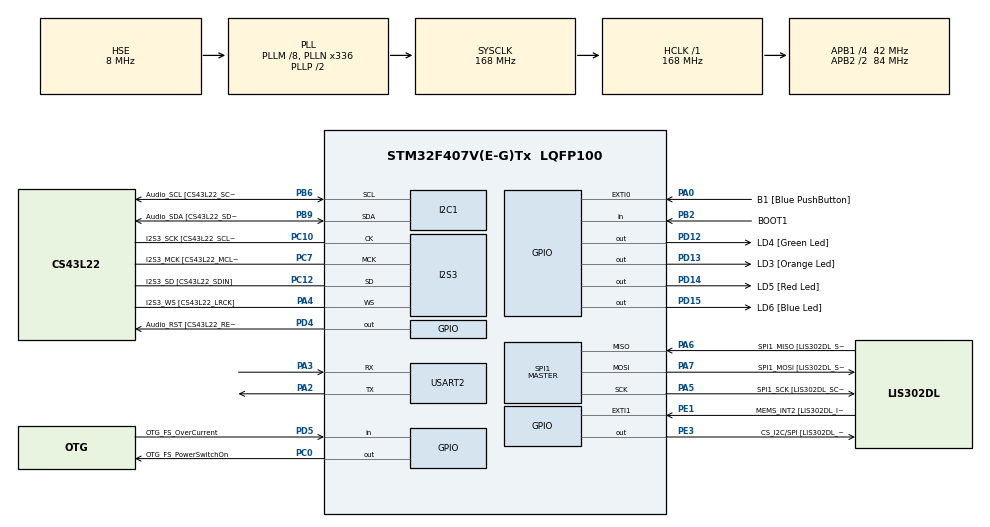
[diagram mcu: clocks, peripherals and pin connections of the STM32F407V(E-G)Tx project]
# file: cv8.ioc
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ADC1.Channel-0\#ChannelRegularConversion=ADC_CHANNEL_VREFINT
ADC1.NbrOfConversionFlag=1
ADC1.Rank-0\#ChannelRegularConversion=1
ADC1.SamplingTime-0\#ChannelRegularConversion=ADC_SAMPLETIME_480CYCLES
ADC1.master=1
Dma.Request0=USART2_RX
Dma.USART2_RX.0.Direction=DMA_PERIPH_TO_MEMORY
Dma.USART2_RX.0.FIFOMode=DMA_FIFOMODE_DISABLE
Dma.USART2_RX.0.Instance=DMA1_Stream5
Dma.USART2_RX.0.MemDataAlignment=DMA_MDATAALIGN_BYTE
Dma.USART2_RX.0.MemInc=DMA_MINC_ENABLE
Dma.USART2_RX.0.Mode=DMA_CIRCULAR
Dma.USART2_RX.0.PeriphDataAlignment=DMA_PDATAALIGN_BYTE
Dma.USART2_RX.0.PeriphInc=DMA_PINC_DISABLE
Dma.USART2_RX.0.Priority=DMA_PRIORITY_HIGH
I2S3.AudioFreq-Half_Duplex_Master=I2S_AUDIOFREQ_96K
I2S3.ErrorAudioFreq=-2.34 %
I2S3.ErrorAudioFreq-Half_Duplex_Master=0.8 %
I2S3.RealAudioFreq=93.75 KHz
I2S3.RealAudioFreq-Half_Duplex_Master=96.774 KHz
Mcu.Family=STM32F4
Mcu.Name=STM32F407V(E-G)Tx
Mcu.Package=LQFP100
NVIC.DMA1_Stream5_IRQn=true\:0\:0\:false\:false\:true
NVIC.PriorityGroup=NVIC_PRIORITYGROUP_0
PA0-WKUP.GPIO_Label=B1 [Blue PushButton]
PA0-WKUP.GPIO_ModeDefaultEXTI=GPIO_MODE_EVT_RISING
PA0-WKUP.GPIO_PuPd=GPIO_NOPULL
PA0-WKUP.Signal=GPXTI0
PA10.GPIO_Label=OTG_FS_ID
PA10.GPIO_Mode=GPIO_MODE_AF_PP
PA10.GPIO_PuPd=GPIO_NOPULL
PA10.GPIO_Speed=GPIO_SPEED_FREQ_LOW
PA10.Signal=USB_OTG_FS_ID
PA11.GPIO_Label=OTG_FS_DM
PA11.GPIO_Mode=GPIO_MODE_AF_PP
PA11.GPIO_PuPd=GPIO_NOPULL
PA11.GPIO_Speed=GPIO_SPEED_FREQ_LOW
PA11.Signal=USB_OTG_FS_DM
PA12.GPIO_Label=OTG_FS_DP
PA12.GPIO_Mode=GPIO_MODE_AF_PP
PA12.GPIO_PuPd=GPIO_NOPULL
PA12.GPIO_Speed=GPIO_SPEED_FREQ_LOW
PA12.Signal=USB_OTG_FS_DP
PA13.GPIO_Label=SWDIO
PA13.Mode=Serial_Wire
PA13.Signal=SYS_JTMS-SWDIO
PA14.GPIO_Label=SWCLK
PA14.Mode=Serial_Wire
PA14.Signal=SYS_JTCK-SWCLK
PA2.Mode=Asynchronous
PA2.Signal=USART2_TX
PA3.Mode=Asynchronous
PA3.Signal=USART2_RX
PA4.GPIO_Label=I2S3_WS [CS43L22_LRCK]
PA4.GPIO_Mode=GPIO_MODE_AF_PP
PA4.GPIO_PuPd=GPIO_NOPULL
PA4.GPIO_Speed=GPIO_SPEED_FREQ_LOW
PA4.Mode=Half_Duplex_Master
PA4.Signal=I2S3_WS
PA5.GPIO_Label=SPI1_SCK [LIS302DL_SCL/SPC]
PA5.GPIO_Mode=GPIO_MODE_AF_PP
PA5.GPIO_PuPd=GPIO_NOPULL
PA5.GPIO_Speed=GPIO_SPEED_FREQ_LOW
PA5.Mode=Full_Duplex_Master
PA5.Signal=SPI1_SCK
PA6.GPIO_Label=SPI1_MISO [LIS302DL_SDO]
PA6.GPIO_Mode=GPIO_MODE_AF_PP
PA6.GPIO_PuPd=GPIO_NOPULL
PA6.GPIO_Speed=GPIO_SPEED_FREQ_LOW
PA6.Mode=Full_Duplex_Master
PA6.Signal=SPI1_MISO
PA7.GPIO_Label=SPI1_MOSI [LIS302DL_SDA/SDI/SDO]
PA7.GPIO_Mode=GPIO_MODE_AF_PP
PA7.GPIO_PuPd=GPIO_NOPULL
PA7.GPIO_Speed=GPIO_SPEED_FREQ_LOW
PA7.Mode=Full_Duplex_Master
PA7.Signal=SPI1_MOSI
PA9.GPIO_Label=VBUS_FS
PA9.GPIO_Mode=GPIO_MODE_INPUT
PA9.GPIO_PuPd=GPIO_NOPULL
PA9.Signal=USB_OTG_FS_VBUS
PB10.GPIO_Label=CLK_IN [MP45DT02_CLK]
PB10.GPIO_Mode=GPIO_MODE_AF_PP
PB10.GPIO_PuPd=GPIO_NOPULL
PB10.GPIO_Speed=GPIO_SPEED_FREQ_LOW
PB10.Signal=I2S2_CK
PB2.GPIO_Label=BOOT1
PB2.GPIO_Mode=GPIO_MODE_INPUT
PB2.GPIO_PuPd=GPIO_NOPULL
PB2.Signal=GPIO_Input
PB3.GPIO_Label=SWO
PB3.Signal=SYS_JTDO-SWO
PB6.GPIO_Label=Audio_SCL [CS43L22_SCL]
PB6.GPIO_Mode=GPIO_MODE_AF_OD
PB6.GPIO_PuPd=GPIO_NOPULL
PB6.GPIO_Speed=GPIO_SPEED_FREQ_LOW
PB6.Mode=I2C
PB6.Signal=I2C1_SCL
PB9.GPIO_Label=Audio_SDA [CS43L22_SDA]
PB9.GPIO_Mode=GPIO_MODE_AF_OD
PB9.GPIO_PuPd=GPIO_NOPULL
PB9.GPIO_Speed=GPIO_SPEED_FREQ_LOW
PB9.Mode=I2C
PB9.Signal=I2C1_SDA
PC0.GPIO_Label=OTG_FS_PowerSwitchOn
PC0.GPIO_PuPd=GPIO_NOPULL
PC0.GPIO_Speed=GPIO_SPEED_FREQ_LOW
PC0.PinState=GPIO_PIN_SET
PC0.Signal=GPIO_Output
PC10.GPIO_Label=I2S3_SCK [CS43L22_SCLK]
PC10.GPIO_Mode=GPIO_MODE_AF_PP
PC10.GPIO_PuPd=GPIO_NOPULL
PC10.GPIO_Speed=GPIO_SPEED_FREQ_LOW
PC10.Mode=Half_Duplex_Master
PC10.Signal=I2S3_CK
PC12.GPIO_Label=I2S3_SD [CS43L22_SDIN]
PC12.GPIO_Mode=GPIO_MODE_AF_PP
PC12.GPIO_PuPd=GPIO_NOPULL
PC12.GPIO_Speed=GPIO_SPEED_FREQ_LOW
PC12.Mode=Half_Duplex_Master
PC12.Signal=I2S3_SD
PC14-OSC32_IN.GPIO_Label=PC14-OSC32_IN
PC14-OSC32_IN.Mode=LSE-External-Oscillator
PC14-OSC32_IN.Signal=RCC_OSC32_IN
PC15-OSC32_OUT.GPIO_Label=PC15-OSC32_OUT
PC15-OSC32_OUT.Mode=LSE-External-Oscillator
PC15-OSC32_OUT.Signal=RCC_OSC32_OUT
PC3.GPIO_Label=PDM_OUT [MP45DT02_DOUT]
PC3.GPIO_Mode=GPIO_MODE_AF_PP
PC3.GPIO_PuPd=GPIO_NOPULL
PC3.GPIO_Speed=GPIO_SPEED_FREQ_LOW
PC3.Signal=I2S2_SD
PC7.GPIO_Label=I2S3_MCK [CS43L22_MCLK]
PC7.GPIO_Mode=GPIO_MODE_AF_PP
PC7.GPIO_PuPd=GPIO_NOPULL
PC7.GPIO_Speed=GPIO_SPEED_FREQ_LOW
PC7.Mode=Master_Clock_Activated
PC7.Signal=I2S3_MCK
PD12.GPIO_Label=LD4 [Green Led]
PD12.GPIO_PuPd=GPIO_NOPULL
PD12.GPIO_Speed=GPIO_SPEED_FREQ_LOW
PD12.Signal=GPIO_Output
PD13.GPIO_Label=LD3 [Orange Led]
PD13.GPIO_PuPd=GPIO_NOPULL
PD13.GPIO_Speed=GPIO_SPEED_FREQ_LOW
PD13.Signal=GPIO_Output
PD14.GPIO_Label=LD5 [Red Led]
PD14.GPIO_PuPd=GPIO_NOPULL
PD14.GPIO_Speed=GPIO_SPEED_FREQ_LOW
PD14.Signal=GPIO_Output
PD15.GPIO_Label=LD6 [Blue Led]
PD15.GPIO_PuPd=GPIO_NOPULL
PD15.GPIO_Speed=GPIO_SPEED_FREQ_LOW
PD15.Signal=GPIO_Output
PD4.GPIO_Label=Audio_RST [CS43L22_RESET]
PD4.GPIO_PuPd=GPIO_NOPULL
PD4.GPIO_Speed=GPIO_SPEED_FREQ_LOW
PD4.Signal=GPIO_Output
PD5.GPIO_Label=OTG_FS_OverCurrent
PD5.GPIO_Mode=GPIO_MODE_INPUT
PD5.GPIO_PuPd=GPIO_NOPULL
PD5.Signal=GPIO_Input
PE1.GPIO_Label=MEMS_INT2 [LIS302DL_INT2]
PE1.GPIO_ModeDefaultEXTI=GPIO_MODE_EVT_RISING
PE1.GPIO_PuPd=GPIO_NOPULL
PE1.Signal=GPXTI1
PE3.GPIO_Label=CS_I2C/SPI [LIS302DL_CS_I2C/SPI]
PE3.GPIO_PuPd=GPIO_NOPULL
PE3.GPIO_Speed=GPIO_SPEED_FREQ_LOW
PE3.Signal=GPIO_Output
PH0-OSC_IN.GPIO_Label=PH0-OSC_IN
PH0-OSC_IN.Mode=HSE-External-Oscillator
PH0-OSC_IN.Signal=RCC_OSC_IN
PH1-OSC_OUT.GPIO_Label=PH1-OSC_OUT
PH1-OSC_OUT.Mode=HSE-External-Oscillator
PH1-OSC_OUT.Signal=RCC_OSC_OUT
ProjectManager.HeapSize=0x200
ProjectManager.StackSize=0x400
ProjectManager.TargetToolchain=SW4STM32
RCC.48MHZClocksFreq_Value=48000000
RCC.AHBFreq_Value=168000000
RCC.APB1CLKDivider=RCC_HCLK_DIV4
RCC.APB1Freq_Value=42000000
RCC.APB1TimFreq_Value=84000000
RCC.APB2CLKDivider=RCC_HCLK_DIV2
RCC.APB2Freq_Value=84000000
RCC.APB2TimFreq_Value=168000000
RCC.CortexFreq_Value=168000000
RCC.HCLKFreq_Value=168000000
RCC.HSE_VALUE=8000000
RCC.HSI_VALUE=16000000
RCC.PLLM=8
RCC.PLLN=336
RCC.PLLQ=7
RCC.PLLSourceVirtual=RCC_PLLSOURCE_HSE
RCC.SYSCLKFreq_VALUE=168000000
RCC.SYSCLKSource=RCC_SYSCLKSOURCE_PLLCLK
RCC.VCOOutputFreq_Value=336000000
SPI1.BaudRatePrescaler-Full_Duplex_Master=SPI_BAUDRATEPRESCALER_2
SPI1.CalculateBaudRate-Full_Duplex_Master=42.0 MBits/s
SPI1.Mode=SPI_MODE_MASTER
SPI1.Mode-Full_Duplex_Master=SPI_MODE_MASTER
VP_ADC1_Vref_Input.Mode=IN-Vrefint
board=STM32F4DISCOVERY

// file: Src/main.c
/**
  ******************************************************************************
  * File Name          : main.c
  * Description        : Main program body
  ******************************************************************************
  *
  * COPYRIGHT(c) 2018 STMicroelectronics
  *
  * Redistribution and use in source and binary forms, with or without modification,
  * are permitted provided that the following conditions are met:
  *   1. Redistributions of source code must retain the above copyright notice,
  *      this list of conditions and the following disclaimer.
  *   2. Redistributions in binary form must reproduce the above copyright notice,
  *      this list of conditions and the following disclaimer in the documentation
  *      and/or other materials provided with the distribution.
  *   3. Neither the name of STMicroelectronics nor the names of its contributors
  *      may be used to endorse or promote products derived from this software
  *      without specific prior written permission.
  *
  * THIS SOFTWARE IS PROVIDED BY THE COPYRIGHT HOLDERS AND CONTRIBUTORS "AS IS"
  * AND ANY EXPRESS OR IMPLIED WARRANTIES, INCLUDING, BUT NOT LIMITED TO, THE
  * IMPLIED WARRANTIES OF MERCHANTABILITY AND FITNESS FOR A PARTICULAR PURPOSE ARE
  * DISCLAIMED. IN NO EVENT SHALL THE COPYRIGHT HOLDER OR CONTRIBUTORS BE LIABLE
  * FOR ANY DIRECT, INDIRECT, INCIDENTAL, SPECIAL, EXEMPLARY, OR CONSEQUENTIAL
  * DAMAGES (INCLUDING, BUT NOT LIMITED TO, PROCUREMENT OF SUBSTITUTE GOODS OR
  * SERVICES; LOSS OF USE, DATA, OR PROFITS; OR BUSINESS INTERRUPTION) HOWEVER
  * CAUSED AND ON ANY THEORY OF LIABILITY, WHETHER IN CONTRACT, STRICT LIABILITY,
  * OR TORT (INCLUDING NEGLIGENCE OR OTHERWISE) ARISING IN ANY WAY OUT OF THE USE
  * OF THIS SOFTWARE, EVEN IF ADVISED OF THE POSSIBILITY OF SUCH DAMAGE.
  *
  ******************************************************************************
  */
#include "main.h"
#include "stm32f4xx_hal.h"

/* USER CODE BEGIN Includes */
#define RX_BUFFER_LEN 64
#define CMD_BUFFER_LEN 64
#define uart_rx_write_ptr (RX_BUFFER_LEN - hdma_usart2_rx.Instance->NDTR)
#include <string.h>
/* USER CODE END Includes */

ADC_HandleTypeDef hadc1;

I2C_HandleTypeDef hi2c1;

I2S_HandleTypeDef hi2s3;

SPI_HandleTypeDef hspi1;

UART_HandleTypeDef huart2;
DMA_HandleTypeDef hdma_usart2_rx;

/* USER CODE BEGIN PV */
/* Private variables ---------------------------------------------------------*/
static uint8_t uart_rx_buf[RX_BUFFER_LEN];
static uint16_t uart_rx_read_ptr = 0;
int32_t timeout;
/* USER CODE END PV */

void SystemClock_Config(void);
void Error_Handler(void);
static void MX_GPIO_Init(void);
static void MX_DMA_Init(void);
static void MX_I2C1_Init(void);
static void MX_I2S3_Init(void);
static void MX_SPI1_Init(void);
static void MX_USART2_UART_Init(void);
static void MX_ADC1_Init(void);

/* USER CODE BEGIN PFP */
/* Private function prototypes -----------------------------------------------*/

/* USER CODE END PFP */

int main(void)
{

  /* MCU Configuration----------------------------------------------------------*/

  /* Reset of all peripherals, Initializes the Flash interface and the Systick. */
  HAL_Init();

  /* Configure the system clock */
  SystemClock_Config();

  /* Initialize all configured peripherals */
  MX_GPIO_Init();
  MX_DMA_Init();
  MX_I2C1_Init();
  MX_I2S3_Init();
  MX_SPI1_Init();
  MX_USART2_UART_Init();
  MX_ADC1_Init();

  /* USER CODE BEGIN 2 */
  HAL_UART_Receive_DMA(&huart2, (uint8_t*)uart_rx_buf, RX_BUFFER_LEN);
  /* USER CODE END 2 */

  /* Infinite loop */
  /* USER CODE BEGIN WHILE */
  while (1)
  {
    //char c;
    //HAL_UART_Receive(&huart2, &c, 1, HAL_MAX_DELAY);
    //HAL_UART_Transmit(&huart2, &c, 1, HAL_MAX_DELAY);
    // vyprazdneni bufferu

    while (uart_rx_read_ptr != uart_rx_write_ptr) {
        __ISB();
        uint8_t b = uart_rx_buf[uart_rx_read_ptr];
        if (++uart_rx_read_ptr >= RX_BUFFER_LEN)
            uart_rx_read_ptr = 0; // increase read pointer

        uart_byte_available(b); // process every received byte with the RX state machine
        timeout = HAL_GetTick();

    }
  /* USER CODE END WHILE */

  }

}

/** System Clock Configuration
*/
void SystemClock_Config(void)
{

  RCC_OscInitTypeDef RCC_OscInitStruct;
  RCC_ClkInitTypeDef RCC_ClkInitStruct;
  RCC_PeriphCLKInitTypeDef PeriphClkInitStruct;

    /**Configure the main internal regulator output voltage
    */
  __HAL_RCC_PWR_CLK_ENABLE();

  __HAL_PWR_VOLTAGESCALING_CONFIG(PWR_REGULATOR_VOLTAGE_SCALE1);

    /**Initializes the CPU, AHB and APB busses clocks
    */
  RCC_OscInitStruct.OscillatorType = RCC_OSCILLATORTYPE_HSE;
  RCC_OscInitStruct.HSEState = RCC_HSE_ON;
  RCC_OscInitStruct.PLL.PLLState = RCC_PLL_ON;
  RCC_OscInitStruct.PLL.PLLSource = RCC_PLLSOURCE_HSE;
  RCC_OscInitStruct.PLL.PLLM = 8;
  RCC_OscInitStruct.PLL.PLLN = 336;
  RCC_OscInitStruct.PLL.PLLP = RCC_PLLP_DIV2;
  RCC_OscInitStruct.PLL.PLLQ = 7;
  if (HAL_RCC_OscConfig(&RCC_OscInitStruct) != HAL_OK)
  {
    Error_Handler();
  }

    /**Initializes the CPU, AHB and APB busses clocks
    */
  RCC_ClkInitStruct.ClockType = RCC_CLOCKTYPE_HCLK|RCC_CLOCKTYPE_SYSCLK
                              |RCC_CLOCKTYPE_PCLK1|RCC_CLOCKTYPE_PCLK2;
  RCC_ClkInitStruct.SYSCLKSource = RCC_SYSCLKSOURCE_PLLCLK;
  RCC_ClkInitStruct.AHBCLKDivider = RCC_SYSCLK_DIV1;
  RCC_ClkInitStruct.APB1CLKDivider = RCC_HCLK_DIV4;
  RCC_ClkInitStruct.APB2CLKDivider = RCC_HCLK_DIV2;

  if (HAL_RCC_ClockConfig(&RCC_ClkInitStruct, FLASH_LATENCY_5) != HAL_OK)
  {
    Error_Handler();
  }

  PeriphClkInitStruct.PeriphClockSelection = RCC_PERIPHCLK_I2S;
  PeriphClkInitStruct.PLLI2S.PLLI2SN = 192;
  PeriphClkInitStruct.PLLI2S.PLLI2SR = 2;
  if (HAL_RCCEx_PeriphCLKConfig(&PeriphClkInitStruct) != HAL_OK)
  {
    Error_Handler();
  }

    /**Configure the Systick interrupt time
    */
  HAL_SYSTICK_Config(HAL_RCC_GetHCLKFreq()/1000);

    /**Configure the Systick
    */
  HAL_SYSTICK_CLKSourceConfig(SYSTICK_CLKSOURCE_HCLK);

  /* SysTick_IRQn interrupt configuration */
  HAL_NVIC_SetPriority(SysTick_IRQn, 0, 0);
}

/* ADC1 init function */
static void MX_ADC1_Init(void)
{

  ADC_ChannelConfTypeDef sConfig;

    /**Configure the global features of the ADC (Clock, Resolution, Data Alignment and number of conversion)
    */
  hadc1.Instance = ADC1;
  hadc1.Init.ClockPrescaler = ADC_CLOCK_SYNC_PCLK_DIV4;
  hadc1.Init.Resolution = ADC_RESOLUTION_12B;
  hadc1.Init.ScanConvMode = DISABLE;
  hadc1.Init.ContinuousConvMode = DISABLE;
  hadc1.Init.DiscontinuousConvMode = DISABLE;
  hadc1.Init.ExternalTrigConvEdge = ADC_EXTERNALTRIGCONVEDGE_NONE;
  hadc1.Init.DataAlign = ADC_DATAALIGN_RIGHT;
  hadc1.Init.NbrOfConversion = 1;
  hadc1.Init.DMAContinuousRequests = DISABLE;
  hadc1.Init.EOCSelection = ADC_EOC_SINGLE_CONV;
  if (HAL_ADC_Init(&hadc1) != HAL_OK)
  {
    Error_Handler();
  }

    /**Configure for the selected ADC regular channel its corresponding rank in the sequencer and its sample time.
    */
  sConfig.Channel = ADC_CHANNEL_VREFINT;
  sConfig.Rank = 1;
  sConfig.SamplingTime = ADC_SAMPLETIME_480CYCLES;
  if (HAL_ADC_ConfigChannel(&hadc1, &sConfig) != HAL_OK)
  {
    Error_Handler();
  }

}

/* I2C1 init function */
static void MX_I2C1_Init(void)
{

  hi2c1.Instance = I2C1;
  hi2c1.Init.ClockSpeed = 100000;
  hi2c1.Init.DutyCycle = I2C_DUTYCYCLE_2;
  hi2c1.Init.OwnAddress1 = 0;
  hi2c1.Init.AddressingMode = I2C_ADDRESSINGMODE_7BIT;
  hi2c1.Init.DualAddressMode = I2C_DUALADDRESS_DISABLE;
  hi2c1.Init.OwnAddress2 = 0;
  hi2c1.Init.GeneralCallMode = I2C_GENERALCALL_DISABLE;
  hi2c1.Init.NoStretchMode = I2C_NOSTRETCH_DISABLE;
  if (HAL_I2C_Init(&hi2c1) != HAL_OK)
  {
    Error_Handler();
  }

}

/* I2S3 init function */
static void MX_I2S3_Init(void)
{

  hi2s3.Instance = SPI3;
  hi2s3.Init.Mode = I2S_MODE_MASTER_TX;
  hi2s3.Init.Standard = I2S_STANDARD_PHILIPS;
  hi2s3.Init.DataFormat = I2S_DATAFORMAT_16B;
  hi2s3.Init.MCLKOutput = I2S_MCLKOUTPUT_ENABLE;
  hi2s3.Init.AudioFreq = I2S_AUDIOFREQ_96K;
  hi2s3.Init.CPOL = I2S_CPOL_LOW;
  hi2s3.Init.ClockSource = I2S_CLOCK_PLL;
  hi2s3.Init.FullDuplexMode = I2S_FULLDUPLEXMODE_DISABLE;
  if (HAL_I2S_Init(&hi2s3) != HAL_OK)
  {
    Error_Handler();
  }

}

/* SPI1 init function */
static void MX_SPI1_Init(void)
{

  hspi1.Instance = SPI1;
  hspi1.Init.Mode = SPI_MODE_MASTER;
  hspi1.Init.Direction = SPI_DIRECTION_2LINES;
  hspi1.Init.DataSize = SPI_DATASIZE_8BIT;
  hspi1.Init.CLKPolarity = SPI_POLARITY_LOW;
  hspi1.Init.CLKPhase = SPI_PHASE_1EDGE;
  hspi1.Init.NSS = SPI_NSS_SOFT;
  hspi1.Init.BaudRatePrescaler = SPI_BAUDRATEPRESCALER_2;
  hspi1.Init.FirstBit = SPI_FIRSTBIT_MSB;
  hspi1.Init.TIMode = SPI_TIMODE_DISABLE;
  hspi1.Init.CRCCalculation = SPI_CRCCALCULATION_DISABLE;
  hspi1.Init.CRCPolynomial = 10;
  if (HAL_SPI_Init(&hspi1) != HAL_OK)
  {
    Error_Handler();
  }

}

/* USART2 init function */
static void MX_USART2_UART_Init(void)
{

  huart2.Instance = USART2;
  huart2.Init.BaudRate = 115200;
  huart2.Init.WordLength = UART_WORDLENGTH_8B;
  huart2.Init.StopBits = UART_STOPBITS_1;
  huart2.Init.Parity = UART_PARITY_NONE;
  huart2.Init.Mode = UART_MODE_TX_RX;
  huart2.Init.HwFlowCtl = UART_HWCONTROL_NONE;
  huart2.Init.OverSampling = UART_OVERSAMPLING_16;
  if (HAL_UART_Init(&huart2) != HAL_OK)
  {
    Error_Handler();
  }

}

static void MX_DMA_Init(void)
{
  /* DMA controller clock enable */
  __HAL_RCC_DMA1_CLK_ENABLE();

  /* DMA interrupt init */
  /* DMA1_Stream5_IRQn interrupt configuration */
  HAL_NVIC_SetPriority(DMA1_Stream5_IRQn, 0, 0);
  HAL_NVIC_EnableIRQ(DMA1_Stream5_IRQn);

}

/** Configure pins as
        * Analog
        * Input
        * Output
        * EVENT_OUT
        * EXTI
        * Free pins are configured automatically as Analog (this feature is enabled through
        * the Code Generation settings)
     PC3   ------> I2S2_SD
     PB10   ------> I2S2_CK
     PA9   ------> USB_OTG_FS_VBUS
     PA10   ------> USB_OTG_FS_ID
     PA11   ------> USB_OTG_FS_DM
     PA12   ------> USB_OTG_FS_DP
*/
static void MX_GPIO_Init(void)
{

  GPIO_InitTypeDef GPIO_InitStruct;

  /* GPIO Ports Clock Enable */
  __HAL_RCC_GPIOE_CLK_ENABLE();
  __HAL_RCC_GPIOC_CLK_ENABLE();
  __HAL_RCC_GPIOH_CLK_ENABLE();
  __HAL_RCC_GPIOA_CLK_ENABLE();
  __HAL_RCC_GPIOB_CLK_ENABLE();
  __HAL_RCC_GPIOD_CLK_ENABLE();

  /*Configure GPIO pins : PE2 PE4 PE5 PE6
                           PE7 PE8 PE9 PE10
                           PE11 PE12 PE13 PE14
                           PE15 PE0 */
  GPIO_InitStruct.Pin = GPIO_PIN_2|GPIO_PIN_4|GPIO_PIN_5|GPIO_PIN_6
                          |GPIO_PIN_7|GPIO_PIN_8|GPIO_PIN_9|GPIO_PIN_10
                          |GPIO_PIN_11|GPIO_PIN_12|GPIO_PIN_13|GPIO_PIN_14
                          |GPIO_PIN_15|GPIO_PIN_0;
  GPIO_InitStruct.Mode = GPIO_MODE_ANALOG;
  GPIO_InitStruct.Pull = GPIO_NOPULL;
  HAL_GPIO_Init(GPIOE, &GPIO_InitStruct);

  /*Configure GPIO pin : CS_I2C_SPI_Pin */
  GPIO_InitStruct.Pin = CS_I2C_SPI_Pin;
  GPIO_InitStruct.Mode = GPIO_MODE_OUTPUT_PP;
  GPIO_InitStruct.Pull = GPIO_NOPULL;
  GPIO_InitStruct.Speed = GPIO_SPEED_FREQ_LOW;
  HAL_GPIO_Init(CS_I2C_SPI_GPIO_Port, &GPIO_InitStruct);

  /*Configure GPIO pins : PC13 PC1 PC2 PC4
                           PC5 PC6 PC8 PC9
                           PC11 */
  GPIO_InitStruct.Pin = GPIO_PIN_13|GPIO_PIN_1|GPIO_PIN_2|GPIO_PIN_4
                          |GPIO_PIN_5|GPIO_PIN_6|GPIO_PIN_8|GPIO_PIN_9
                          |GPIO_PIN_11;
  GPIO_InitStruct.Mode = GPIO_MODE_ANALOG;
  GPIO_InitStruct.Pull = GPIO_NOPULL;
  HAL_GPIO_Init(GPIOC, &GPIO_InitStruct);

  /*Configure GPIO pin : OTG_FS_PowerSwitchOn_Pin */
  GPIO_InitStruct.Pin = OTG_FS_PowerSwitchOn_Pin;
  GPIO_InitStruct.Mode = GPIO_MODE_OUTPUT_PP;
  GPIO_InitStruct.Pull = GPIO_NOPULL;
  GPIO_InitStruct.Speed = GPIO_SPEED_FREQ_LOW;
  HAL_GPIO_Init(OTG_FS_PowerSwitchOn_GPIO_Port, &GPIO_InitStruct);

  /*Configure GPIO pin : PDM_OUT_Pin */
  GPIO_InitStruct.Pin = PDM_OUT_Pin;
  GPIO_InitStruct.Mode = GPIO_MODE_AF_PP;
  GPIO_InitStruct.Pull = GPIO_NOPULL;
  GPIO_InitStruct.Speed = GPIO_SPEED_FREQ_LOW;
  GPIO_InitStruct.Alternate = GPIO_AF5_SPI2;
  HAL_GPIO_Init(PDM_OUT_GPIO_Port, &GPIO_InitStruct);

  /*Configure GPIO pin : B1_Pin */
  GPIO_InitStruct.Pin = B1_Pin;
  GPIO_InitStruct.Mode = GPIO_MODE_EVT_RISING;
  GPIO_InitStruct.Pull = GPIO_NOPULL;
  HAL_GPIO_Init(B1_GPIO_Port, &GPIO_InitStruct);

  /*Configure GPIO pins : PA1 PA8 PA15 */
  GPIO_InitStruct.Pin = GPIO_PIN_1|GPIO_PIN_8|GPIO_PIN_15;
  GPIO_InitStruct.Mode = GPIO_MODE_ANALOG;
  GPIO_InitStruct.Pull = GPIO_NOPULL;
  HAL_GPIO_Init(GPIOA, &GPIO_InitStruct);

  /*Configure GPIO pins : PB0 PB1 PB11 PB12
                           PB13 PB14 PB15 PB4
                           PB5 PB7 PB8 */
  GPIO_InitStruct.Pin = GPIO_PIN_0|GPIO_PIN_1|GPIO_PIN_11|GPIO_PIN_12
                          |GPIO_PIN_13|GPIO_PIN_14|GPIO_PIN_15|GPIO_PIN_4
                          |GPIO_PIN_5|GPIO_PIN_7|GPIO_PIN_8;
  GPIO_InitStruct.Mode = GPIO_MODE_ANALOG;
  GPIO_InitStruct.Pull = GPIO_NOPULL;
  HAL_GPIO_Init(GPIOB, &GPIO_InitStruct);

  /*Configure GPIO pin : BOOT1_Pin */
  GPIO_InitStruct.Pin = BOOT1_Pin;
  GPIO_InitStruct.Mode = GPIO_MODE_INPUT;
  GPIO_InitStruct.Pull = GPIO_NOPULL;
  HAL_GPIO_Init(BOOT1_GPIO_Port, &GPIO_InitStruct);

  /*Configure GPIO pin : CLK_IN_Pin */
  GPIO_InitStruct.Pin = CLK_IN_Pin;
  GPIO_InitStruct.Mode = GPIO_MODE_AF_PP;
  GPIO_InitStruct.Pull = GPIO_NOPULL;
  GPIO_InitStruct.Speed = GPIO_SPEED_FREQ_LOW;
  GPIO_InitStruct.Alternate = GPIO_AF5_SPI2;
  HAL_GPIO_Init(CLK_IN_GPIO_Port, &GPIO_InitStruct);

  /*Configure GPIO pins : PD8 PD9 PD10 PD11
                           PD0 PD1 PD2 PD3
                           PD6 PD7 */
  GPIO_InitStruct.Pin = GPIO_PIN_8|GPIO_PIN_9|GPIO_PIN_10|GPIO_PIN_11
                          |GPIO_PIN_0|GPIO_PIN_1|GPIO_PIN_2|GPIO_PIN_3
                          |GPIO_PIN_6|GPIO_PIN_7;
  GPIO_InitStruct.Mode = GPIO_MODE_ANALOG;
  GPIO_InitStruct.Pull = GPIO_NOPULL;
  HAL_GPIO_Init(GPIOD, &GPIO_InitStruct);

  /*Configure GPIO pins : LD4_Pin LD3_Pin LD5_Pin LD6_Pin
                           Audio_RST_Pin */
  GPIO_InitStruct.Pin = LD4_Pin|LD3_Pin|LD5_Pin|LD6_Pin
                          |Audio_RST_Pin;
  GPIO_InitStruct.Mode = GPIO_MODE_OUTPUT_PP;
  GPIO_InitStruct.Pull = GPIO_NOPULL;
  GPIO_InitStruct.Speed = GPIO_SPEED_FREQ_LOW;
  HAL_GPIO_Init(GPIOD, &GPIO_InitStruct);

  /*Configure GPIO pin : VBUS_FS_Pin */
  GPIO_InitStruct.Pin = VBUS_FS_Pin;
  GPIO_InitStruct.Mode = GPIO_MODE_INPUT;
  GPIO_InitStruct.Pull = GPIO_NOPULL;
  HAL_GPIO_Init(VBUS_FS_GPIO_Port, &GPIO_InitStruct);

  /*Configure GPIO pins : OTG_FS_ID_Pin OTG_FS_DM_Pin OTG_FS_DP_Pin */
  GPIO_InitStruct.Pin = OTG_FS_ID_Pin|OTG_FS_DM_Pin|OTG_FS_DP_Pin;
  GPIO_InitStruct.Mode = GPIO_MODE_AF_PP;
  GPIO_InitStruct.Pull = GPIO_NOPULL;
  GPIO_InitStruct.Speed = GPIO_SPEED_FREQ_LOW;
  GPIO_InitStruct.Alternate = GPIO_AF10_OTG_FS;
  HAL_GPIO_Init(GPIOA, &GPIO_InitStruct);

  /*Configure GPIO pin : OTG_FS_OverCurrent_Pin */
  GPIO_InitStruct.Pin = OTG_FS_OverCurrent_Pin;
  GPIO_InitStruct.Mode = GPIO_MODE_INPUT;
  GPIO_InitStruct.Pull = GPIO_NOPULL;
  HAL_GPIO_Init(OTG_FS_OverCurrent_GPIO_Port, &GPIO_InitStruct);

  /*Configure GPIO pin : MEMS_INT2_Pin */
  GPIO_InitStruct.Pin = MEMS_INT2_Pin;
  GPIO_InitStruct.Mode = GPIO_MODE_EVT_RISING;
  GPIO_InitStruct.Pull = GPIO_NOPULL;
  HAL_GPIO_Init(MEMS_INT2_GPIO_Port, &GPIO_InitStruct);

  /*Configure GPIO pin Output Level */
  HAL_GPIO_WritePin(CS_I2C_SPI_GPIO_Port, CS_I2C_SPI_Pin, GPIO_PIN_RESET);

  /*Configure GPIO pin Output Level */
  HAL_GPIO_WritePin(OTG_FS_PowerSwitchOn_GPIO_Port, OTG_FS_PowerSwitchOn_Pin, GPIO_PIN_SET);

  /*Configure GPIO pin Output Level */
  HAL_GPIO_WritePin(GPIOD, LD4_Pin|LD3_Pin|LD5_Pin|LD6_Pin
                          |Audio_RST_Pin, GPIO_PIN_RESET);

}

/* USER CODE BEGIN 4 */
void uart_byte_available(uint8_t c)
{
    static uint16_t cnt;
    static char data[CMD_BUFFER_LEN];

    if ((HAL_GetTick() - timeout) >= 2000)
       cnt = 0;

    if (cnt < CMD_BUFFER_LEN) data[cnt++] = c;

    if (c == '\n' || c == '\r') {
        data[cnt] = '\0';
        uart_process_command(data);
        cnt = 0;
    }

}

void uart_process_command(char const *cmd) {
    char cmd_buffer[CMD_BUFFER_LEN];
    int i_data = 0;
    int i_buffer = 0;
    char c;

    do {
        c = cmd[i_data];
        if ((c >= 32 && c <= 126) || c == '\0') {
            cmd_buffer[i_buffer] = cmd[i_data];
            i_buffer++;
        }
        i_data++;
    } while(c != '\0');

    char *token;
    token = strtok(cmd_buffer, " ");

    if (strcasecmp(token, "HELLO") == 0) {
        printf("Komunikace OK\n");
    }

    else if (strcasecmp(token, "SET") == 0) {
       token = strtok(NULL, " ");

       if (strcasecmp(token, "RED") == 0) {
            printf("Cervena\n");
            token = strtok(NULL, " ");

           if (strcasecmp(token, "ON") == 0) {
                printf("Zapnout\n");
                HAL_GPIO_WritePin(LD5_GPIO_Port, LD5_Pin, 1);
            }

            else if (strcasecmp(token, "OFF") == 0) {
                printf("Vypnou\n");
                HAL_GPIO_WritePin(LD5_GPIO_Port, LD5_Pin, 0);
            }

        }

        else if (strcasecmp(token, "BLUE") == 0) {
            printf("Modra\n");
            token = strtok(NULL, " ");

           if (strcasecmp(token, "ON") == 0) {
                printf("Zapnout\n");
                HAL_GPIO_WritePin(LD6_GPIO_Port, LD6_Pin, 1);
            }

            else if (strcasecmp(token, "OFF") == 0) {
                printf("Vypnou\n");
                HAL_GPIO_WritePin(LD6_GPIO_Port, LD6_Pin, 0);
            }
        }

        else if (strcasecmp(token, "GREEN") == 0) {
            printf("Zelena\n");
            token = strtok(NULL, " ");

           if (strcasecmp(token, "ON") == 0) {
                printf("Zapnout\n");
                HAL_GPIO_WritePin(LD4_GPIO_Port, LD4_Pin, 1);
            }

            else if (strcasecmp(token, "OFF") == 0) {
                printf("Vypnou\n");
                HAL_GPIO_WritePin(LD4_GPIO_Port, LD4_Pin, 0);
            }
        }

        else if (strcasecmp(token, "ORANGE") == 0) {
            printf("Oranzova\n");
            token = strtok(NULL, " ");

           if (strcasecmp(token, "ON") == 0) {
                printf("Zapnout\n");
                HAL_GPIO_WritePin(LD3_GPIO_Port, LD3_Pin, 1);
            }

            else if (strcasecmp(token, "OFF") == 0) {
                printf("Vypnou\n");
                HAL_GPIO_WritePin(LD3_GPIO_Port, LD3_Pin, 0);
            }
        }
    }

    else if (strcasecmp(token, "READ") == 0) {
        printf("Oranzova: %d \n", HAL_GPIO_ReadPin(LD3_GPIO_Port, LD3_Pin));
        printf("Zelena: %d \n", HAL_GPIO_ReadPin(LD4_GPIO_Port, LD4_Pin));
        printf("Modra: %d \n", HAL_GPIO_ReadPin(LD6_GPIO_Port, LD6_Pin));
        printf("Cervena: %d \n", HAL_GPIO_ReadPin(LD5_GPIO_Port, LD5_Pin));
    }

    else if (strcasecmp(token, "VOLTAGE") == 0) {
        float voltage;

        HAL_ADC_Start(&hadc1);
        HAL_ADC_PollForConversion(&hadc1, HAL_MAX_DELAY);
        uint32_t value = HAL_ADC_GetValue(&hadc1);
        HAL_ADC_Stop(&hadc1);

        voltage = (1210*4096)/value;
        printf("ADC value: %d\n", value);
        printf("voltage: %5.2f\n", voltage);
    }

    printf("prijato: '%s'\n", cmd_buffer);
}

int _write(int file, char const *buf, int n)
{
    /* stdout redirection to UART2 */
    HAL_UART_Transmit(&huart2, (char*)(buf), n, HAL_MAX_DELAY);
    return n;
}
/* USER CODE END 4 */

void Error_Handler(void)
{
  while(1)
  {
  }
}

/************************ (C) COPYRIGHT STMicroelectronics *****END OF FILE****/
